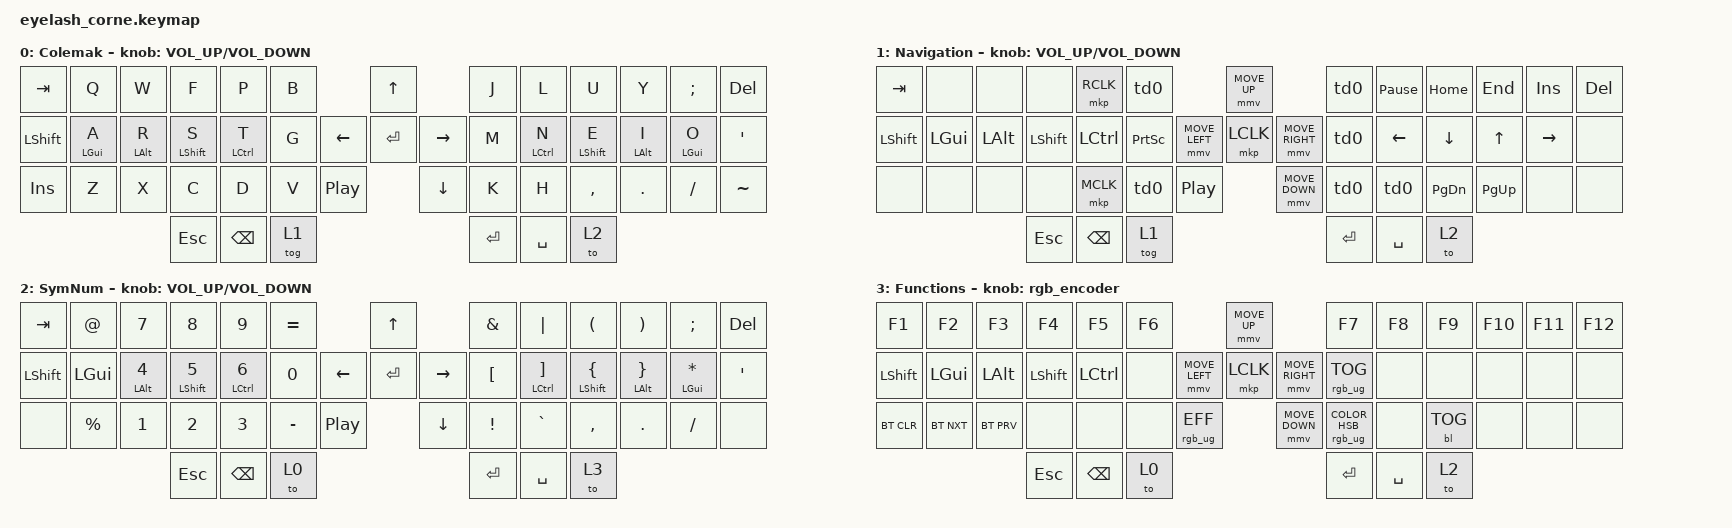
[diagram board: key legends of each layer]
#include <dt-bindings/zmk/mouse.h>
#include <input/processors.dtsi>
#include <behaviors.dtsi>
#include <dt-bindings/zmk/backlight.h>
#include <dt-bindings/zmk/bt.h>
#include <dt-bindings/zmk/keys.h>
#include <dt-bindings/zmk/pointing.h>
#include <dt-bindings/zmk/rgb.h>

/*

   &mmv_input_listener {
       input-processors = <&zip_xy_scaler 2 1>;
   };

   &msc_input_listener {
       input-processors = <&zip_xy_scaler 2 1>;
   };

 */

#define ZMK_MOUSE_DEFAULT_MOVE_VAL 1200  // 600
#define ZMK_MOUSE_DEFAULT_SCRL_VAL 20    // 10

&mt {
    tapping-term-ms = <300>;
    require-prior-idle-ms = <125>;
    flavor = "tap-preferred";
};

/ {
    behaviors {
        td0: td0 {
            compatible = "zmk,behavior-tap-dance";
            display-name = "Shift/Caps Lock Tap Dance";
            #binding-cells = <0>;
            bindings = <&kp LEFT_SHIFT>, <&kp CAPS>;
        };
    };

    rgb_encoder: rgb_encoder {
        compatible = "zmk,behavior-sensor-rotate";
        #sensor-binding-cells = <0>;
        bindings = <&rgb_ug RGB_BRI>, <&rgb_ug RGB_BRD>;
    };

    scroll_encoder: scroll_encoder {
        compatible = "zmk,behavior-sensor-rotate";
        #sensor-binding-cells = <0>;
        bindings = <&msc SCRL_DOWN>, <&msc SCRL_UP>;

        tap-ms = <30>;
    };

    keymap {
        compatible = "zmk,keymap";

        Colemak {
            display-name = "Colemak";
            bindings = <
&kp TAB         &kp Q           &kp W       &kp F         &kp P        &kp B                                 &kp UP                &kp J      &kp L        &kp U         &kp Y       &kp SEMI    &kp DEL
&kp LEFT_SHIFT  &mt LEFT_GUI A  &mt LALT R  &mt LSHIFT S  &mt LCTRL T  &kp G                       &kp LEFT  &kp ENTER  &kp RIGHT  &kp M      &mt LCTRL N  &mt LSHIFT E  &mt LALT I  &mt LGUI O  &kp SQT
&kp INSERT      &kp Z           &kp X       &kp C         &kp D        &kp V   &kp C_PLAY_PAUSE              &kp DOWN              &kp K      &kp H        &kp COMMA     &kp DOT     &kp FSLH    &kp TILDE
                                            &kp ESC       &kp BSPC     &tog 1                                                      &kp ENTER  &kp SPACE    &to 2
            >;

            sensor-bindings = <&inc_dec_kp C_VOLUME_UP C_VOLUME_DOWN>;
        };

        Navigation {
            display-name = "Navigation";
            bindings = <
&kp TAB         &none         &none     &none       &mkp RCLK  &td0                                                 &mmv MOVE_UP                     &td0       &kp PAUSE_BREAK  &kp HOME       &kp END    &kp INSERT  &kp DEL
&kp LEFT_SHIFT  &kp LEFT_GUI  &kp LALT  &kp LSHIFT  &kp LCTRL  &kp PRINTSCREEN                      &mmv MOVE_LEFT  &mkp LCLK       &mmv MOVE_RIGHT  &td0       &kp LEFT         &kp DOWN       &kp UP     &kp RIGHT   &none
&none           &none         &none     &none       &mkp MCLK  &td0             &kp C_PLAY_PAUSE                    &mmv MOVE_DOWN                   &td0       &td0             &kp PAGE_DOWN  &kp PG_UP  &none       &none
                                        &kp ESC     &kp BSPC   &tog 1                                                                                &kp ENTER  &kp SPACE        &to 2
            >;

            sensor-bindings = <&inc_dec_kp C_VOLUME_UP C_VOLUME_DOWN>;
        };

        SymNum {
            display-name = "SymNum";
            bindings = <
&kp TAB         &kp AT        &kp N7                 &kp N8             &kp N9        &kp EQUAL                                &kp UP_ARROW             &kp AMPERSAND     &kp PIPE                 &kp LPAR                   &kp RIGHT_PARENTHESIS     &kp SEMICOLON   &kp DEL
&kp LEFT_SHIFT  &kp LEFT_GUI  &mt LEFT_ALT NUMBER_4  &mt LEFT_SHIFT N5  &mt LCTRL N6  &kp N0                         &kp LEFT  &kp ENTER     &kp RIGHT  &kp LEFT_BRACKET  &mt LCTRL RIGHT_BRACKET  &mt LEFT_SHIFT LEFT_BRACE  &mt LEFT_ALT RIGHT_BRACE  &mt LGUI ASTRK  &kp SQT
&none           &kp PERCENT   &kp N1                 &kp N2             &kp N3        &kp MINUS  &kp C_PLAY_PAUSE              &kp DOWN                 &kp EXCL          &kp GRAVE                &kp COMMA                  &kp DOT                   &kp FSLH        &none
                                                     &kp ESC            &kp BSPC      &to 0                                                             &kp ENTER         &kp SPACE                &to 3
            >;

            sensor-bindings = <&inc_dec_kp C_VOLUME_UP C_VOLUME_DOWN>;
        };

        Functions {
            display-name = "Functions";
            bindings = <
&kp F1          &kp F2        &kp F3      &kp F4      &kp F5     &kp F6                                     &mmv MOVE_UP                     &kp F7                            &kp F8     &kp F9      &kp F10  &kp F11  &kp F12
&kp LEFT_SHIFT  &kp LEFT_GUI  &kp LALT    &kp LSHIFT  &kp LCTRL  &none                      &mmv MOVE_LEFT  &mkp LCLK       &mmv MOVE_RIGHT  &rgb_ug RGB_TOG                   &none      &none       &none    &none    &none
&bt BT_CLR      &bt BT_NXT    &bt BT_PRV  &none       &none      &none   &rgb_ug RGB_EFF                    &mmv MOVE_DOWN                   &rgb_ug RGB_COLOR_HSB(196,0,100)  &none      &bl BL_TOG  &none    &none    &none
                                          &kp ESC     &kp BSPC   &to 0                                                                       &kp ENTER                         &kp SPACE  &to 2
            >;

            sensor-bindings = <&rgb_encoder>;
        };
    };
};
